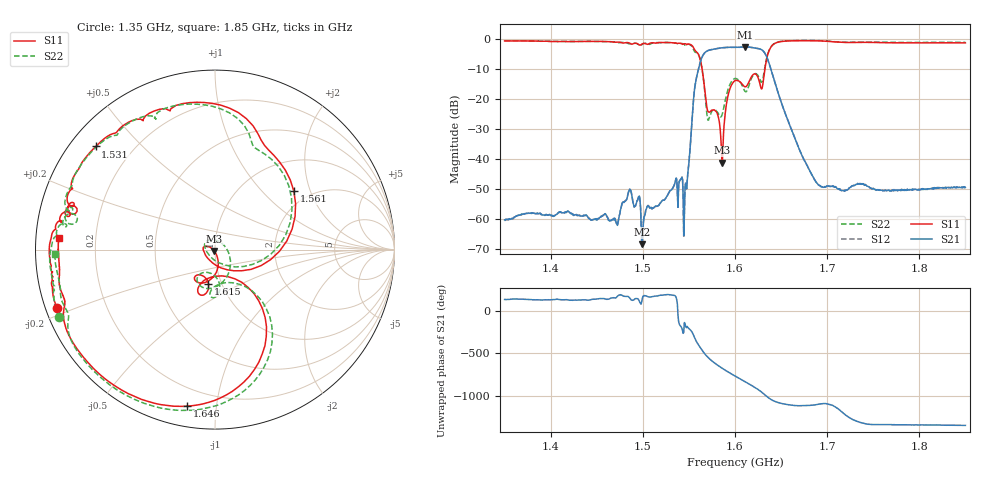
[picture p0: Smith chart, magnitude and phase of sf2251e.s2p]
# Hz S RI R 50
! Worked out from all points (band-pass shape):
!   801 points, 1.35 GHz to 1.85 GHz, reference 50 ohm
!   highest |S21| = -2.55 dB at 1.611 GHz (marker M1); lowest = -68.4 dB at 1.499 GHz (marker M2)
!   |S21| within 3 dB of the highest: 1.565 GHz to 1.634 GHz (69.11 MHz wide, 4.32 % of centre)
!   lowest |S11| = -41.1 dB at 1.586 GHz (marker M3), VSWR 1.02, Z = 49.5 - j0.735 ohm
!   |S11| at or under -10 dB: 1.564 GHz to 1.632 GHz (68.02 MHz wide, 4.26 % of centre)
!   |S22| runs from -27.0 to -0.4 dB; largest |S21 - S12| = 0.001
!   S11 on the Smith chart (normalised r, x): 1.35 GHz: 0.03, -0.18; 1.531 GHz: 0.07, +0.37; 1.561 GHz: 1.67, +1.55; 1.615 GHz: 0.87, -0.34; 1.646 GHz: 0.10, -0.83; 1.85 GHz: 0.07, +0.04
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1.35e9  -0.8807 -0.3255  -0.000644 0.000734  -0.000592 0.000754  -0.8701 -0.3747
1.43375e9  -0.9178 -0.0716  -0.000679 0.000897  -0.000687 0.00092  -0.9103 -0.1273
1.47125e9  -0.8882 0.1174  -0.000778 0.000376  -0.000785 0.000364  -0.8882 0.0736
1.485625e9  -0.8366 0.2098  -0.00277 0.00156  -0.00277 0.00156  -0.8262 0.1343
1.499375e9  -0.8125 0.2084  -0.000293 0.000243  -0.000277 0.000223  -0.8132 0.1438
1.516875e9  -0.8001 0.3713  -0.00168 0.000119  -0.00169 0.000123  -0.8076 0.3421
1.53125e9  -0.6647 0.5745  -0.00308 -0.000183  -0.00313 -0.000208  -0.6838 0.5489
1.54625e9  -0.3098 0.7817  -0.004 -0.000289  -0.00399 -0.000302  -0.3373 0.7333
1.560625e9  0.4394 0.3252  0.2288 -0.2398  0.2287 -0.2402  0.4112 0.3555
1.565625e9  0.2015 -0.1099  -0.3187 -0.4551  -0.3184 -0.4549  0.2089 -0.0824
1.57125e9  -0.0489 -0.0374  -0.6319 0.1667  -0.6319 0.1662  -0.0398 -0.0206
1.57875e9  -0.0623 0.0147  -0.0914 0.6885  -0.0918 0.6885  -0.0442 0.0488
1.58625e9  -0.00467 -0.00742  0.5362 0.4832  0.5361 0.4832  0.0532 0.0206
1.6e9  -0.0836 -0.1866  0.501 -0.5344  0.5011 -0.5341  -0.0485 -0.2164
1.61125e9  -0.0698 -0.1454  -0.3132 -0.6769  -0.3131 -0.6767  -0.0421 -0.1271
1.615e9  -0.0365 -0.1895  -0.5581 -0.4887  -0.5576 -0.4886  0.0154 -0.1674
1.63e9  0.0739 -0.1513  -0.2597 0.5968  -0.2603 0.5966  0.101 -0.1851
1.636875e9  0.2627 -0.5828  0.245 0.3182  0.245 0.318  0.3087 -0.5681
1.645625e9  -0.1552 -0.8725  0.1447 0.0126  0.1445 0.0127  -0.0732 -0.8883
1.68375e9  -0.7849 -0.5289  0.00465 -0.00271  0.00466 -0.00271  -0.7465 -0.5955
1.766875e9  -0.8663 -0.1285  -0.0006 0.00295  -0.000579 0.00297  -0.8629 -0.2099
1.85e9  -0.8694 0.0637  -0.00015 0.00338  -0.000148 0.00334  -0.8904 -0.0223
